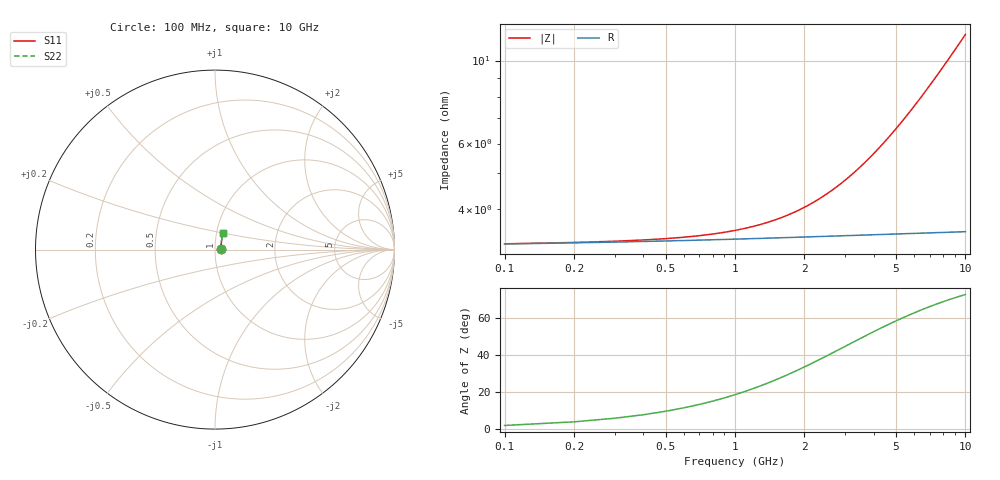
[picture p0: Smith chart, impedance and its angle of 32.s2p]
# Hz S RI R 50.00
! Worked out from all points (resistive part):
!   100 points, 100 MHz to 10 GHz, reference 50 ohm
!   read as one part in series: R = 3.23 ohm at 100 MHz
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1e8  0.0313 0.000931  0.9687 -0.00117  0.9687 -0.00117  0.0313 0.000931
6e8  0.032 0.00557  0.968 -0.00703  0.968 -0.00703  0.032 0.00557
8e8  0.0322 0.00743  0.9678 -0.00937  0.9678 -0.00937  0.0322 0.00743
1e9  0.0324 0.00928  0.9676 -0.0117  0.9676 -0.0117  0.0324 0.00928
1.2e9  0.0325 0.0111  0.9675 -0.014  0.9675 -0.014  0.0325 0.0111
1.4e9  0.0327 0.013  0.9673 -0.0164  0.9673 -0.0164  0.0327 0.013
1.8e9  0.0329 0.0167  0.967 -0.0211  0.967 -0.0211  0.0329 0.0167
2.1e9  0.0332 0.0195  0.9668 -0.0246  0.9668 -0.0246  0.0332 0.0195
2.4e9  0.0334 0.0222  0.9666 -0.0281  0.9666 -0.0281  0.0334 0.0222
3.4e9  0.0343 0.0315  0.9657 -0.0397  0.9657 -0.0397  0.0343 0.0315
4.3e9  0.0352 0.0398  0.9647 -0.0502  0.9647 -0.0502  0.0352 0.0398
5.1e9  0.0362 0.0471  0.9637 -0.0595  0.9637 -0.0595  0.0362 0.0471
5.5e9  0.0367 0.0508  0.9632 -0.0641  0.9632 -0.0641  0.0367 0.0508
5.9e9  0.0373 0.0544  0.9626 -0.0687  0.9626 -0.0687  0.0373 0.0544
6.3e9  0.0378 0.0581  0.962 -0.0733  0.962 -0.0733  0.0378 0.0581
6.7e9  0.0385 0.0617  0.9614 -0.0779  0.9614 -0.0779  0.0385 0.0617
7.1e9  0.0391 0.0653  0.9607 -0.0826  0.9607 -0.0826  0.0391 0.0653
7.5e9  0.0398 0.069  0.96 -0.0872  0.96 -0.0872  0.0398 0.069
7.9e9  0.0405 0.0726  0.9593 -0.0917  0.9593 -0.0917  0.0405 0.0726
8.4e9  0.0415 0.0771  0.9583 -0.0975  0.9583 -0.0975  0.0415 0.0771
9.2e9  0.0431 0.0843  0.9566 -0.1066  0.9566 -0.1066  0.0431 0.0843
1e10  0.0449 0.0914  0.9548 -0.1157  0.9548 -0.1157  0.0449 0.0914
